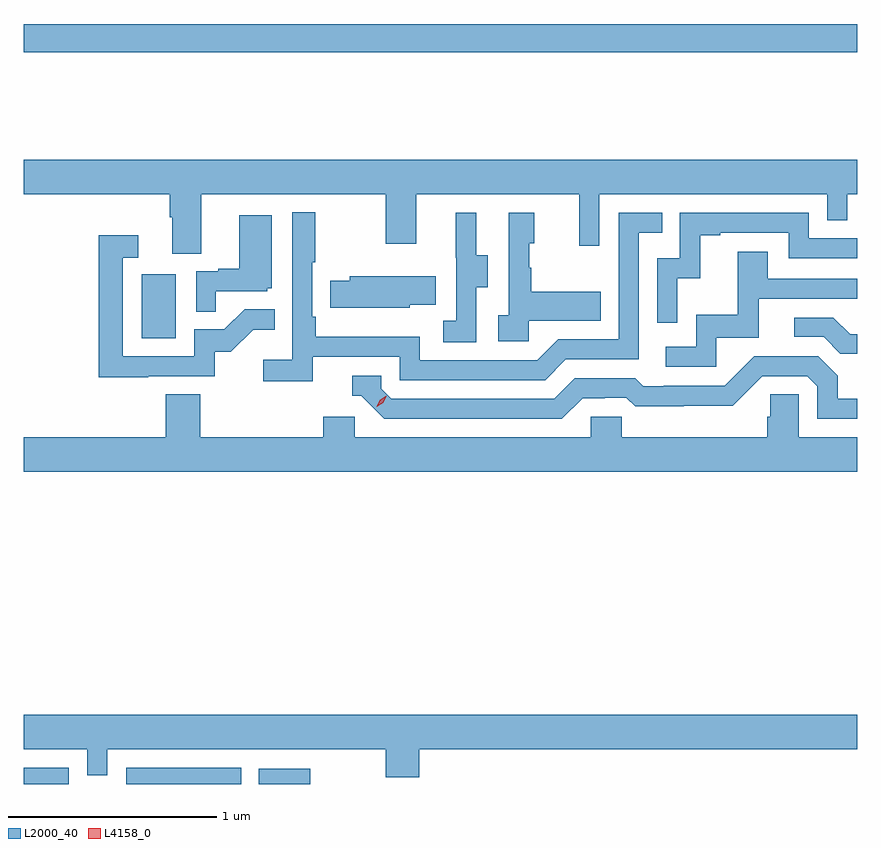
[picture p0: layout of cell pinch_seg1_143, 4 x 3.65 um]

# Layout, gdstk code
import gdstk
lib = gdstk.Library(unit=1e-6, precision=1e-09)
def R(c, l, rs):  # rectangles x0, y0, x1, y1
    for r in rs: c.add(gdstk.rectangle(r[:2], r[2:], *l))
def P(c, l, *ps):  # polygons
    for p in ps: c.add(gdstk.Polygon(p, *l))
L2000_40 = (2000, 40)
L4158_0 = (4158, 0)

pinch_seg1_143 = lib.new_cell('pinch_seg1_143')
R(pinch_seg1_143, L2000_40, [(1114.027,560.888,1114.242,560.967), (1114.518,560.888,1115.07,560.967), (1115.155,560.888,1115.401,560.961), (1114.592,563.028,1114.756,563.335), (1114.027,564.4,1118.027,564.536)])
P(pinch_seg1_143, L2000_40, [(1114.879,563.72),(1115.764,563.72),(1115.764,563.481),(1115.911,563.481),(1115.911,563.72),(1116.692,563.72),(1116.692,563.472),(1116.789,563.472),(1116.789,563.72),(1117.884,563.72),(1117.884,563.593),(1117.98,563.593),(1117.98,563.72),(1118.027,563.72),(1118.027,563.884),(1114.027,563.884),(1114.027,563.72),(1114.727,563.72),(1114.727,563.608),(1114.739,563.608),(1114.739,563.434),(1114.879,563.434)],
  [(1115.414,562.938),(1115.832,562.938),(1115.832,562.827),(1116.529,562.827),(1116.628,562.926),(1116.978,562.926),(1116.978,563.535),(1117.091,563.535),(1117.091,563.631),(1116.882,563.631),(1116.882,563.022),(1116.591,563.022),(1116.492,562.923),(1115.928,562.923),(1115.928,563.035),(1115.429,563.035),(1115.429,563.131),(1115.412,563.131),(1115.412,563.392),(1115.425,563.392),(1115.425,563.632),(1115.316,563.632),(1115.316,562.924),(1115.175,562.924),(1115.175,562.822),(1115.414,562.822)],
  [(1117.164,563.315),(1117.274,563.315),(1117.274,563.523),(1117.369,563.523),(1117.369,563.535),(1117.698,563.535),(1117.698,563.412),(1118.027,563.412),(1118.027,563.508),(1117.794,563.508),(1117.794,563.631),(1117.176,563.631),(1117.176,563.412),(1117.068,563.412),(1117.068,563.103),(1117.164,563.103)],
  [(1116.198,563.272),(1116.253,563.272),(1116.253,563.427),(1116.199,563.427),(1116.199,563.629),(1116.101,563.629),(1116.101,563.415),(1116.102,563.415),(1116.102,563.111),(1116.039,563.111),(1116.039,563.008),(1116.198,563.008)],
  [(1116.45,563.111),(1116.797,563.111),(1116.797,563.251),(1116.463,563.251),(1116.463,563.366),(1116.453,563.366),(1116.453,563.484),(1116.478,563.484),(1116.478,563.629),(1116.354,563.629),(1116.354,563.138),(1116.303,563.138),(1116.303,563.013),(1116.45,563.013)],
  [(1114.949,563.253),(1115.196,563.253),(1115.196,563.268),(1115.218,563.268),(1115.218,563.617),(1115.06,563.617),(1115.06,563.362),(1114.961,563.362),(1114.961,563.349),(1114.854,563.349),(1114.854,563.155),(1114.949,563.155)],
  [(1114.625,562.845),(1114.944,562.845),(1114.944,562.962),(1115.02,562.962),(1115.127,563.069),(1115.231,563.069),(1115.231,563.168),(1115.087,563.168),(1114.989,563.07),(1114.845,563.07),(1114.845,562.941),(1114.503,562.941),(1114.503,563.415),(1114.576,563.415),(1114.576,563.521),(1114.387,563.521),(1114.387,562.84),(1114.625,562.84)],
  [(1117.35,563.031),(1117.555,563.031),(1117.555,563.217),(1118.027,563.217),(1118.027,563.313),(1117.597,563.313),(1117.597,563.443),(1117.453,563.443),(1117.453,563.14),(1117.254,563.14),(1117.254,562.986),(1117.107,562.986),(1117.107,562.89),(1117.35,562.89)],
  [(1115.88,563.189),(1116.005,563.189),(1116.005,563.326),(1115.591,563.326),(1115.591,563.304),(1115.497,563.304),(1115.497,563.175),(1115.608,563.175),(1115.608,563.174),(1115.88,563.174)],
  [(1118.027,563.046),(1117.993,563.046),(1117.912,563.127),(1117.725,563.127),(1117.725,563.034),(1117.866,563.034),(1117.946,562.954),(1118.027,562.954)],
  [(1116.709,562.74),(1116.816,562.74),(1116.816,562.743),(1116.919,562.743),(1116.961,562.701),(1117.194,562.701),(1117.194,562.703),(1117.43,562.703),(1117.572,562.845),(1117.788,562.845),(1117.836,562.797),(1117.836,562.641),(1118.027,562.641),(1118.027,562.737),(1117.933,562.737),(1117.933,562.847),(1117.839,562.941),(1117.533,562.941),(1117.392,562.8),(1117.099,562.8),(1117.099,562.797),(1117,562.797),(1116.961,562.836),(1116.672,562.836),(1116.573,562.737),(1115.79,562.737),(1115.742,562.785),(1115.742,562.848),(1115.603,562.848),(1115.603,562.752),(1115.646,562.752),(1115.757,562.641),(1116.61,562.641)],
  [(1118.027,562.552),(1117.746,562.552),(1117.746,562.76),(1117.609,562.76),(1117.609,562.65),(1117.595,562.65),(1117.595,562.552),(1116.897,562.552),(1116.897,562.65),(1116.747,562.65),(1116.747,562.552),(1115.616,562.552),(1115.616,562.65),(1115.465,562.65),(1115.465,562.552),(1114.874,562.552),(1114.874,562.76),(1114.709,562.76),(1114.709,562.552),(1114.027,562.552),(1114.027,562.388),(1118.027,562.388)],
  [(1115.924,561.056),(1118.027,561.056),(1118.027,561.22),(1114.027,561.22),(1114.027,561.056),(1114.332,561.056),(1114.332,560.929),(1114.428,560.929),(1114.428,561.056),(1115.764,561.056),(1115.764,560.921),(1115.924,560.921)])
P(pinch_seg1_143, L4158_0, [(1115.72,562.698),(1115.72,562.698),(1115.736,562.731),(1115.766,562.751),(1115.766,562.751),(1115.766,562.75),(1115.751,562.718),(1115.72,562.698)])

lib.write_gds('pinch_seg1_143.gds')
